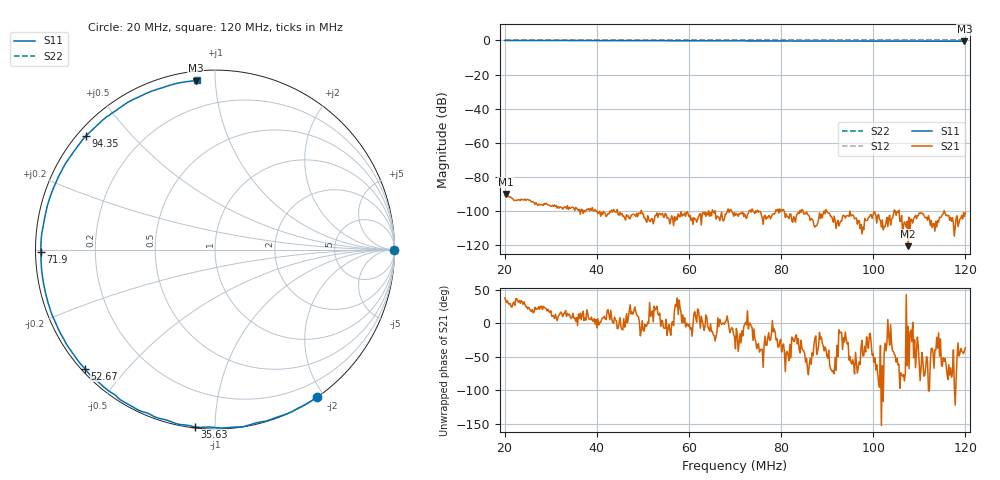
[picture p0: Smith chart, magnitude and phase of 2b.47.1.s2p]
! Anritsu VNA Master:  Model: MS2036C/10/77
! SN:  1601066
! /card0/usr/18may27.balun/252b.47.s2p
! Existing Calibration Information:
! TYPE:  Current Settings,  Active Cal Settings
! TIME:  05/27/2018 12:01:25 PM,  05/27/2018 11:54:56 AM
! INTERNAL TEMP:  50.5 C,  49.3 C
! # POINTS:  500,  500
! START FREQ:  20.000 MHz,  20.000 MHz
! STOP FREQ:  120.000 MHz,  120.000 MHz
! SOURCE POWER:  High,  High
! IFBW:  50 Hz,  50 Hz
! AVG FACTOR:  1 ,  1
! REF PLANE 1:  0 mm,  0 mm
! REF PLANE 2:  0 mm,  0 mm
! CAL TYPE:  Full S11,  Full S11
! CAL METHOD:  SOLT,  SOLT
! CAL LINE TYPE:  Coax,  Coax
! DUT PORT 1:  K-Conn(M),  K-Conn(M)
! DUT PORT 2:  K-Conn(M),  K-Conn(M)
! CAL STATUS:  OK: Accuracy High,  --
# GHZ S DB R 50.0
! FREQ.GHZ  S11DB  S11A  S21DB  S21A  S12DB  S12A  S22DB  S22A
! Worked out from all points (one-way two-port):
!   500 points, 20 MHz to 120 MHz, reference 50 ohm
!   highest |S21| = -90.03 dB at 20.2 MHz (marker M1); lowest = -120.6 dB at 107.6 MHz (marker M2)
!   lowest |S11| = -0.5 dB at 119.8 MHz (marker M3), VSWR 37.22, Z = 2.41 + j44.5 ohm
!   |S11| at or under -10 dB: nowhere
!   |S22| runs from 0.0 to 0.0 dB; largest |S21 - S12| = 1
!   S11 on the Smith chart (normalised r, x): 20 MHz: 0.00, -1.90; 35.63 MHz: 0.00, -0.89; 52.67 MHz: 0.01, -0.39; 71.9 MHz: 0.02, -0.01; 94.35 MHz: 0.02, +0.38; 120 MHz: 0.05, +0.90
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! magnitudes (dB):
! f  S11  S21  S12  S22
! 20 MHz  0.0  -90.8  0.0  0.0
! 20.2 MHz  0.0  -90.0  0.0  0.0
! 23.61 MHz  0.0  -93.0  0.0  0.0
! 27.82 MHz  -0.1  -96.3  0.0  0.0
! 29.62 MHz  0.0  -96.5  0.0  0.0
! 33.63 MHz  -0.1  -96.8  0.0  0.0
! 35.63 MHz  0.0  -98.5  0.0  0.0
! 36.83 MHz  -0.1  -99.1  0.0  0.0
! 37.84 MHz  -0.1  -98.9  0.0  0.0
! 39.44 MHz  -0.1  -99.7  0.0  0.0
! 43.25 MHz  -0.1  -99.4  0.0  0.0
! 47.25 MHz  -0.1  -104.6  0.0  0.0
! 52.67 MHz  -0.2  -102.6  0.0  0.0
! 53.47 MHz  -0.1  -101.5  0.0  0.0
! 70.1 MHz  -0.3  -102.5  0.0  0.0
! 71.9 MHz  -0.3  -103.2  0.0  0.0
! 86.73 MHz  -0.3  -104.8  0.0  0.0
! 94.35 MHz  -0.4  -102.7  0.0  0.0
! 103.4 MHz  -0.4  -104.1  0.0  0.0
! 107.6 MHz  -0.4  -120.6  0.0  0.0
! 119.8 MHz  -0.5  -103.1  0.0  0.0
! 120 MHz  -0.5  -100.7  0.0  0.0
